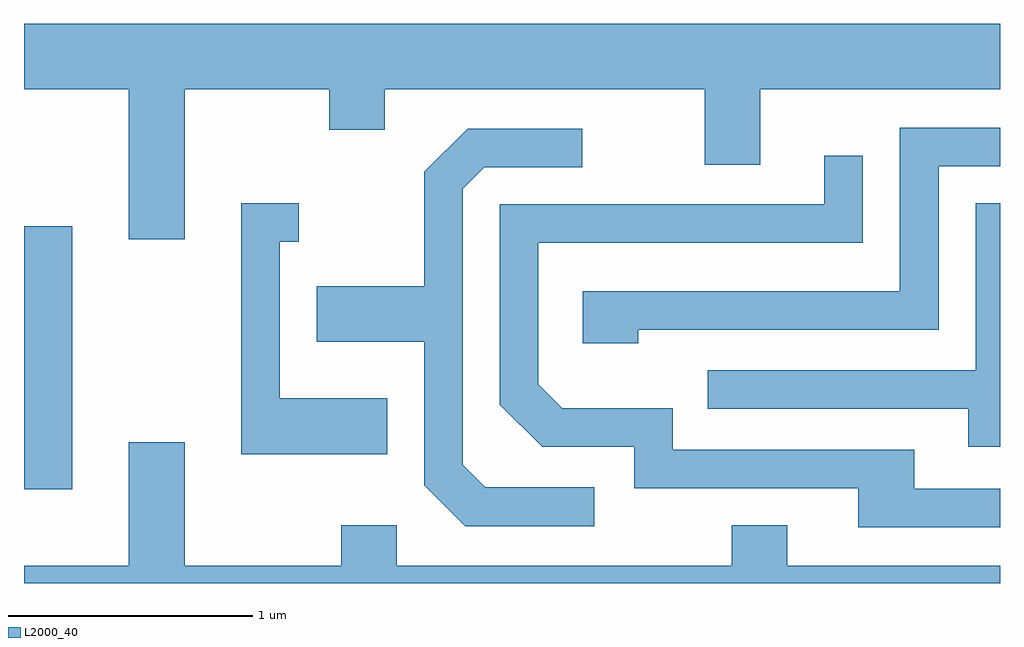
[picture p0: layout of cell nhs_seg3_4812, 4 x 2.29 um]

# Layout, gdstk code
import gdstk
lib = gdstk.Library(unit=1e-6, precision=1e-09)
def R(c, l, rs):  # rectangles x0, y0, x1, y1
    for r in rs: c.add(gdstk.rectangle(r[:2], r[2:], *l))
def P(c, l, *ps):  # polygons
    for p in ps: c.add(gdstk.Polygon(p, *l))
L2000_40 = (2000, 40)

nhs_seg3_4812 = lib.new_cell('nhs_seg3_4812')
R(nhs_seg3_4812, L2000_40, [(325.611,1224.276,325.809,1225.354)])
P(nhs_seg3_4812, L2000_40, [(326.269,1225.916),(326.861,1225.916),(326.861,1225.751),(327.089,1225.751),(327.089,1225.916),(328.401,1225.916),(328.401,1225.606),(328.629,1225.606),(328.629,1225.916),(329.611,1225.916),(329.611,1226.184),(325.611,1226.184),(325.611,1225.916),(326.041,1225.916),(326.041,1225.301),(326.269,1225.301)],
  [(328.129,1224.931),(329.359,1224.931),(329.359,1225.601),(329.611,1225.601),(329.611,1225.759),(329.201,1225.759),(329.201,1225.089),(327.901,1225.089),(327.901,1224.876),(328.129,1224.876)],
  [(327.948,1224.284),(327.502,1224.284),(327.409,1224.377),(327.409,1225.509),(327.497,1225.596),(327.898,1225.596),(327.898,1225.754),(327.429,1225.754),(327.251,1225.577),(327.251,1225.109),(326.811,1225.109),(326.811,1224.881),(327.251,1224.881),(327.251,1224.294),(327.419,1224.126),(327.948,1224.126)],
  [(329.611,1224.279),(329.259,1224.279),(329.259,1224.439),(328.269,1224.439),(328.269,1224.609),(327.817,1224.609),(327.719,1224.707),(327.719,1225.286),(329.049,1225.286),(329.049,1225.643),(328.891,1225.643),(328.891,1225.444),(327.561,1225.444),(327.561,1224.624),(327.734,1224.451),(328.111,1224.451),(328.111,1224.281),(329.031,1224.281),(329.031,1224.121),(329.611,1224.121)],
  [(329.611,1225.449),(329.511,1225.449),(329.511,1224.764),(328.413,1224.764),(328.413,1224.606),(329.481,1224.606),(329.481,1224.451),(329.611,1224.451)],
  [(327.099,1224.649),(326.659,1224.649),(326.659,1225.291),(326.738,1225.291),(326.738,1225.449),(326.501,1225.449),(326.501,1224.421),(327.099,1224.421)],
  [(326.041,1224.469),(326.041,1223.964),(325.611,1223.964),(325.611,1223.892),(329.611,1223.892),(329.611,1223.964),(328.739,1223.964),(328.739,1224.129),(328.511,1224.129),(328.511,1223.964),(327.139,1223.964),(327.139,1224.129),(326.911,1224.129),(326.911,1223.964),(326.269,1223.964),(326.269,1224.469)])

lib.write_gds('nhs_seg3_4812.gds')
